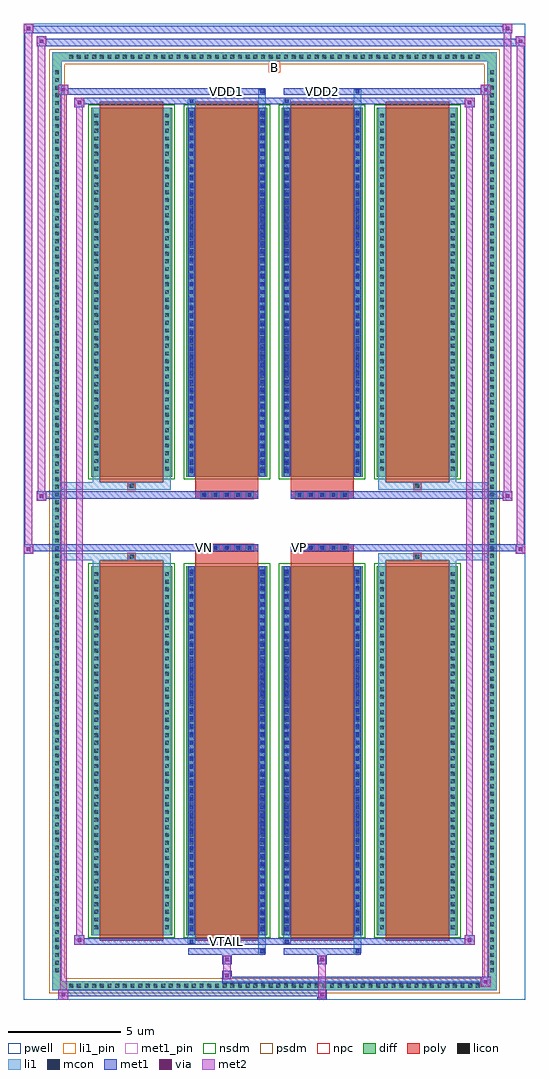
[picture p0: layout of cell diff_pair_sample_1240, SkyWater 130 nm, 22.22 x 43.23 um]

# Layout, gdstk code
import gdstk
lib = gdstk.Library(unit=1e-6, precision=5e-09)
def R(c, l, rs):  # rectangles x0, y0, x1, y1
    for r in rs: c.add(gdstk.rectangle(r[:2], r[2:], *l))
def A(c, l, x, y, w, h, nx, ny, dx, dy):  # array of equal rectangles
    R(c, l, [(x+i*dx, y+j*dy, x+i*dx+w, y+j*dy+h) for i in range(nx) for j in range(ny)])
def P(c, l, *ps):  # polygons
    for p in ps: c.add(gdstk.Polygon(p, *l))
pwell = (64, 44)
diff = (65, 20)
poly = (66, 20)
licon = (66, 44)
li1_pin = (67, 16)
li1 = (67, 20)
mcon = (67, 44)
met1_pin = (68, 16)
met1 = (68, 20)
via = (68, 44)
met2 = (69, 20)
nsdm = (93, 44)
psdm = (94, 20)
npc = (95, 20)

diff_pair_sample_1240 = lib.new_cell('diff_pair_sample_1240')
R(diff_pair_sample_1240, pwell, [(-11.11,-21.18,11.11,22.05), (-8.43,-19.37,-0.01,-0.805), (0.01,-19.37,8.43,-0.805), (-8.43,0.805,-0.01,19.37), (0.01,0.805,8.43,19.37)])
A(diff_pair_sample_1240, diff, -9.215, -20.78, 0.41, 0.41, 54, 2, 0.34, 41.15)
A(diff_pair_sample_1240, diff, -9.84, -20.095, 0.41, 0.41, 1, 118, 0, 0.34)
A(diff_pair_sample_1240, diff, 9.43, -20.095, 0.41, 0.41, 1, 118, 0, 0.34)
A(diff_pair_sample_1240, diff, -8.12, -18.325, 3.58, 16.34, 4, 2, 4.22, 20.31)
R(diff_pair_sample_1240, diff, [(-9.215,-20.78,9.215,-20.37), (-9.84,-20.095,-9.43,20.095), (9.43,-20.095,9.84,20.095), (-9.215,20.37,9.215,20.78)])
P(diff_pair_sample_1240, diff, [(9.84,20.78),(-9.84,20.78),(-9.84,-20.37),(-9.43,-20.37),(-9.43,20.37),(9.43,20.37),(9.43,-20.37),(-9.43,-20.37),(-9.84,-20.37),(-9.84,-20.78),(9.84,-20.78)])
A(diff_pair_sample_1240, poly, -7.73, -18.575, 2.8, 16.84, 4, 2, 4.22, 20.31)
A(diff_pair_sample_1240, poly, -3.275, -1.335, 0.33, 0.33, 5, 2, 0.5, 2.34)
A(diff_pair_sample_1240, poly, 0.945, -1.335, 0.33, 0.33, 5, 2, 0.5, 2.34)
R(diff_pair_sample_1240, poly, [(-6.495,-1.735,-6.165,-1.405), (-6.495,-1.735,-6.165,-1.405), (-3.51,-1.735,-0.71,-1.335), (0.71,-1.735,3.51,-1.335), (6.165,-1.735,6.495,-1.405), (6.165,-1.735,6.495,-1.405), (-3.51,-1.335,-0.71,-1.005), (0.71,-1.335,3.51,-1.005), (-3.51,1.005,-0.71,1.335), (0.71,1.005,3.51,1.335), (-3.51,1.335,-0.71,1.735), (0.71,1.335,3.51,1.735), (-6.495,1.405,-6.165,1.735), (-6.495,1.405,-6.165,1.735), (6.165,1.405,6.495,1.735), (6.165,1.405,6.495,1.735)])
A(diff_pair_sample_1240, licon, -9.095, -20.66, 0.17, 0.17, 54, 2, 0.34, 41.15)
A(diff_pair_sample_1240, licon, -9.72, -19.975, 0.17, 0.17, 1, 118, 0, 0.34)
A(diff_pair_sample_1240, licon, 9.55, -19.975, 0.17, 0.17, 1, 118, 0, 0.34)
A(diff_pair_sample_1240, licon, -7.98, -18.06, 0.17, 0.17, 1, 47, 0, 0.34)
A(diff_pair_sample_1240, licon, -4.85, -18.06, 0.17, 0.17, 1, 47, 0, 0.34)
A(diff_pair_sample_1240, licon, -3.76, -18.06, 0.17, 0.17, 1, 47, 0, 0.34)
A(diff_pair_sample_1240, licon, -0.63, -18.06, 0.17, 0.17, 1, 47, 0, 0.34)
A(diff_pair_sample_1240, licon, 0.46, -18.06, 0.17, 0.17, 1, 47, 0, 0.34)
A(diff_pair_sample_1240, licon, 3.59, -18.06, 0.17, 0.17, 1, 47, 0, 0.34)
A(diff_pair_sample_1240, licon, 4.68, -18.06, 0.17, 0.17, 1, 47, 0, 0.34)
A(diff_pair_sample_1240, licon, 7.81, -18.06, 0.17, 0.17, 1, 47, 0, 0.34)
A(diff_pair_sample_1240, licon, -3.195, -1.255, 0.17, 0.17, 5, 2, 0.5, 2.34)
A(diff_pair_sample_1240, licon, 1.025, -1.255, 0.17, 0.17, 5, 2, 0.5, 2.34)
A(diff_pair_sample_1240, licon, -7.98, 2.25, 0.17, 0.17, 1, 47, 0, 0.34)
A(diff_pair_sample_1240, licon, -4.85, 2.25, 0.17, 0.17, 1, 47, 0, 0.34)
A(diff_pair_sample_1240, licon, -3.76, 2.25, 0.17, 0.17, 1, 47, 0, 0.34)
A(diff_pair_sample_1240, licon, -0.63, 2.25, 0.17, 0.17, 1, 47, 0, 0.34)
A(diff_pair_sample_1240, licon, 0.46, 2.25, 0.17, 0.17, 1, 47, 0, 0.34)
A(diff_pair_sample_1240, licon, 3.59, 2.25, 0.17, 0.17, 1, 47, 0, 0.34)
A(diff_pair_sample_1240, licon, 4.68, 2.25, 0.17, 0.17, 1, 47, 0, 0.34)
A(diff_pair_sample_1240, licon, 7.81, 2.25, 0.17, 0.17, 1, 47, 0, 0.34)
R(diff_pair_sample_1240, licon, [(-6.415,-1.655,-6.245,-1.485), (6.245,-1.655,6.415,-1.485), (-6.415,1.485,-6.245,1.655), (6.245,1.485,6.415,1.655)])
R(diff_pair_sample_1240, li1_pin, [(-0.25,19.87,0.25,20.37)])
A(diff_pair_sample_1240, li1, -9.175, -20.74, 0.33, 0.33, 54, 2, 0.34, 41.15)
A(diff_pair_sample_1240, li1, -9.8, -20.055, 0.33, 0.33, 1, 118, 0, 0.34)
A(diff_pair_sample_1240, li1, 9.47, -20.055, 0.33, 0.33, 1, 118, 0, 0.34)
A(diff_pair_sample_1240, li1, -3.76, -18.16, 0.17, 0.17, 1, 45, 0, 0.36)
A(diff_pair_sample_1240, li1, -0.63, -18.16, 0.17, 0.17, 1, 45, 0, 0.36)
A(diff_pair_sample_1240, li1, 0.46, -18.16, 0.17, 0.17, 1, 45, 0, 0.36)
A(diff_pair_sample_1240, li1, 3.59, -18.16, 0.17, 0.17, 1, 45, 0, 0.36)
A(diff_pair_sample_1240, li1, -8.06, -18.14, 0.33, 0.33, 1, 47, 0, 0.34)
A(diff_pair_sample_1240, li1, -4.93, -18.14, 0.33, 0.33, 1, 47, 0, 0.34)
A(diff_pair_sample_1240, li1, -3.84, -18.14, 0.33, 0.33, 1, 47, 0, 0.34)
A(diff_pair_sample_1240, li1, -0.71, -18.14, 0.33, 0.33, 1, 47, 0, 0.34)
A(diff_pair_sample_1240, li1, 0.38, -18.14, 0.33, 0.33, 1, 47, 0, 0.34)
A(diff_pair_sample_1240, li1, 3.51, -18.14, 0.33, 0.33, 1, 47, 0, 0.34)
A(diff_pair_sample_1240, li1, 4.6, -18.14, 0.33, 0.33, 1, 47, 0, 0.34)
A(diff_pair_sample_1240, li1, 7.73, -18.14, 0.33, 0.33, 1, 47, 0, 0.34)
A(diff_pair_sample_1240, li1, -3.275, -1.335, 0.33, 0.33, 5, 2, 0.5, 2.34)
A(diff_pair_sample_1240, li1, 0.945, -1.335, 0.33, 0.33, 5, 2, 0.5, 2.34)
A(diff_pair_sample_1240, li1, -3.76, 2.15, 0.17, 0.17, 1, 45, 0, 0.36)
A(diff_pair_sample_1240, li1, -0.63, 2.15, 0.17, 0.17, 1, 45, 0, 0.36)
A(diff_pair_sample_1240, li1, 0.46, 2.15, 0.17, 0.17, 1, 45, 0, 0.36)
A(diff_pair_sample_1240, li1, 3.59, 2.15, 0.17, 0.17, 1, 45, 0, 0.36)
A(diff_pair_sample_1240, li1, -8.06, 2.17, 0.33, 0.33, 1, 47, 0, 0.34)
A(diff_pair_sample_1240, li1, -4.93, 2.17, 0.33, 0.33, 1, 47, 0, 0.34)
A(diff_pair_sample_1240, li1, -3.84, 2.17, 0.33, 0.33, 1, 47, 0, 0.34)
A(diff_pair_sample_1240, li1, -0.71, 2.17, 0.33, 0.33, 1, 47, 0, 0.34)
A(diff_pair_sample_1240, li1, 0.38, 2.17, 0.33, 0.33, 1, 47, 0, 0.34)
A(diff_pair_sample_1240, li1, 3.51, 2.17, 0.33, 0.33, 1, 47, 0, 0.34)
A(diff_pair_sample_1240, li1, 4.6, 2.17, 0.33, 0.33, 1, 47, 0, 0.34)
A(diff_pair_sample_1240, li1, 7.73, 2.17, 0.33, 0.33, 1, 47, 0, 0.34)
R(diff_pair_sample_1240, li1, [(-9.84,-20.78,-9.43,-20.37), (-9.84,-20.78,-9.43,-20.37), (-9.43,-20.78,9.43,-20.37), (9.43,-20.78,9.84,-20.37), (9.43,-20.78,9.84,-20.37), (-9.84,-20.37,-9.43,20.37), (9.43,-20.37,9.84,20.37), (-0.71,-19.13,-0.38,-18.325), (-0.63,-19.13,-0.46,-18.96), (3.51,-19.13,3.84,-18.325), (3.59,-19.13,3.76,-18.96), (-3.84,-18.7,-3.51,-18.325), (-3.76,-18.7,-3.59,-18.53), (0.38,-18.7,0.71,-18.325), (0.46,-18.7,0.63,-18.53), (-8.06,-18.325,-7.73,-1.985), (-4.93,-18.325,-4.6,-1.985), (-3.84,-18.325,-3.51,-1.985), (-0.71,-18.325,-0.38,-1.985), (0.38,-18.325,0.71,-1.985), (3.51,-18.325,3.84,-1.985), (4.6,-18.325,4.93,-1.985), (7.73,-18.325,8.06,-1.985), (-3.76,-18.16,-3.59,-2.15), (-0.63,-18.16,-0.46,-2.15), (0.46,-18.16,0.63,-2.15), (3.59,-18.16,3.76,-2.15), (-8.06,-1.985,-7.73,-1.405), (-4.93,-1.985,-4.6,-1.405), (4.6,-1.985,4.93,-1.405), (7.73,-1.985,8.06,-1.405), (-9.84,-1.735,-6.495,-1.405), (-8.06,-1.735,-6.495,-1.405), (-6.495,-1.735,-6.165,-1.405), (-6.165,-1.735,-4.6,-1.405), (4.6,-1.735,6.165,-1.405), (6.165,-1.735,6.495,-1.405), (6.165,-1.735,9.84,-1.405), (6.495,-1.735,8.06,-1.405), (-9.84,1.405,-6.495,1.735), (-8.06,1.405,-6.495,1.735), (-8.06,1.405,-7.73,1.985), (-6.495,1.405,-6.165,1.735), (-6.165,1.405,-4.6,1.735), (-4.93,1.405,-4.6,1.985), (4.6,1.405,6.165,1.735), (4.6,1.405,4.93,1.985), (6.165,1.405,6.495,1.735), (6.165,1.405,9.84,1.735), (6.495,1.405,8.06,1.735), (7.73,1.405,8.06,1.985), (-8.06,1.985,-7.73,18.325), (-4.93,1.985,-4.6,18.325), (-3.84,1.985,-3.51,18.325), (-0.71,1.985,-0.38,18.325), (0.38,1.985,0.71,18.325), (3.51,1.985,3.84,18.325), (4.6,1.985,4.93,18.325), (7.73,1.985,8.06,18.325), (-3.76,2.15,-3.59,18.16), (-0.63,2.15,-0.46,18.16), (0.46,2.15,0.63,18.16), (3.59,2.15,3.76,18.16), (-3.84,18.325,-3.51,18.7), (-0.71,18.325,-0.38,19.13), (0.38,18.325,0.71,18.7), (3.51,18.325,3.84,19.13), (-3.76,18.53,-3.59,18.7), (0.46,18.53,0.63,18.7), (-0.63,18.96,-0.46,19.13), (3.59,18.96,3.76,19.13), (-9.84,20.37,-9.43,20.78), (-9.84,20.37,-9.43,20.78), (-9.43,20.37,9.43,20.78), (9.43,20.37,9.84,20.78), (9.43,20.37,9.84,20.78)])
A(diff_pair_sample_1240, mcon, -3.76, -18.16, 0.17, 0.17, 1, 45, 0, 0.36)
A(diff_pair_sample_1240, mcon, -0.63, -18.16, 0.17, 0.17, 1, 45, 0, 0.36)
A(diff_pair_sample_1240, mcon, 0.46, -18.16, 0.17, 0.17, 1, 45, 0, 0.36)
A(diff_pair_sample_1240, mcon, 3.59, -18.16, 0.17, 0.17, 1, 45, 0, 0.36)
A(diff_pair_sample_1240, mcon, -3.195, -1.255, 0.17, 0.17, 5, 2, 0.5, 2.34)
A(diff_pair_sample_1240, mcon, 1.025, -1.255, 0.17, 0.17, 5, 2, 0.5, 2.34)
A(diff_pair_sample_1240, mcon, -3.76, 2.15, 0.17, 0.17, 1, 45, 0, 0.36)
A(diff_pair_sample_1240, mcon, -0.63, 2.15, 0.17, 0.17, 1, 45, 0, 0.36)
A(diff_pair_sample_1240, mcon, 0.46, 2.15, 0.17, 0.17, 1, 45, 0, 0.36)
A(diff_pair_sample_1240, mcon, 3.59, 2.15, 0.17, 0.17, 1, 45, 0, 0.36)
R(diff_pair_sample_1240, mcon, [(-0.63,-19.13,-0.46,-18.96), (3.59,-19.13,3.76,-18.96), (-3.76,-18.7,-3.59,-18.53), (0.46,-18.7,0.63,-18.53), (-3.76,18.53,-3.59,18.7), (0.46,18.53,0.63,18.7), (-0.63,18.96,-0.46,19.13), (3.59,18.96,3.76,19.13)])
R(diff_pair_sample_1240, met1_pin, [(-2.245,-18.74,-1.975,-18.47), (-3.245,-1.295,-2.975,-1.025), (0.975,-1.295,1.245,-1.025), (-2.245,18.92,-1.975,19.19), (1.975,18.92,2.245,19.19)])
A(diff_pair_sample_1240, met1, -3.82, -18.22, 0.29, 0.29, 1, 45, 0, 0.36)
A(diff_pair_sample_1240, met1, -0.69, -18.22, 0.29, 0.29, 1, 45, 0, 0.36)
A(diff_pair_sample_1240, met1, 0.4, -18.22, 0.29, 0.29, 1, 45, 0, 0.36)
A(diff_pair_sample_1240, met1, 3.53, -18.22, 0.29, 0.29, 1, 45, 0, 0.36)
A(diff_pair_sample_1240, met1, -3.255, -1.315, 0.29, 0.29, 5, 2, 0.5, 2.34)
A(diff_pair_sample_1240, met1, 0.965, -1.315, 0.29, 0.29, 5, 2, 0.5, 2.34)
A(diff_pair_sample_1240, met1, -3.82, 2.09, 0.29, 0.29, 1, 45, 0, 0.36)
A(diff_pair_sample_1240, met1, -0.69, 2.09, 0.29, 0.29, 1, 45, 0, 0.36)
A(diff_pair_sample_1240, met1, 0.4, 2.09, 0.29, 0.29, 1, 45, 0, 0.36)
A(diff_pair_sample_1240, met1, 3.53, 2.09, 0.29, 0.29, 1, 45, 0, 0.36)
R(diff_pair_sample_1240, met1, [(-9.57,-21.18,-9.14,-20.75), (1.895,-21.18,2.325,-20.75), (-9.57,-21.04,2.325,-20.75), (9.14,-20.61,9.57,-20.18), (-2.325,-20.47,9.57,-20.18), (-2.325,-20.33,-1.895,-19.9), (-2.325,-19.62,-1.895,-19.19), (1.895,-19.62,2.325,-19.19), (-3.82,-19.19,-0.4,-18.9), (-0.69,-19.19,-0.4,-18.9), (0.4,-19.19,3.82,-18.9), (3.53,-19.19,3.82,-18.9), (-8.86,-18.76,-8.43,-18.33), (-8.86,-18.76,-3.82,-18.47), (-3.82,-18.76,-3.53,-18.47), (-3.82,-18.76,-0.4,-18.47), (-0.4,-18.76,0.4,-18.47), (0.4,-18.76,0.69,-18.47), (0.4,-18.76,3.82,-18.47), (3.82,-18.76,8.86,-18.47), (8.43,-18.76,8.86,-18.33), (-3.82,-18.325,-3.53,-1.985), (-0.69,-18.325,-0.4,-1.985), (0.4,-18.325,0.69,-1.985), (3.53,-18.325,3.82,-1.985), (-11.11,-1.435,-10.68,-1.005), (10.68,-1.435,11.11,-1.005), (-11.11,-1.335,-0.71,-1.005), (-3.51,-1.335,-0.71,-1.005), (0.71,-1.335,3.51,-1.005), (0.71,-1.335,11.11,-1.005), (-10.54,0.905,-10.11,1.335), (10.11,0.905,10.54,1.335), (-10.54,1.005,-3.51,1.335), (-3.51,1.005,-0.71,1.335), (0.71,1.005,3.51,1.335), (3.51,1.005,10.54,1.335), (-3.82,1.985,-3.53,18.325), (-0.69,1.985,-0.4,18.325), (0.4,1.985,0.69,18.325), (3.53,1.985,3.82,18.325), (-8.86,18.33,-8.43,18.76), (8.43,18.33,8.86,18.76), (-8.86,18.47,-3.82,18.76), (-3.82,18.47,-3.53,18.76), (-3.82,18.47,-0.4,18.76), (-0.4,18.47,0.4,18.76), (0.4,18.47,0.69,18.76), (0.4,18.47,3.82,18.76), (3.82,18.47,8.86,18.76), (-9.57,18.9,-9.14,19.33), (-9.57,18.9,-3.82,19.19), (-3.82,18.9,-0.4,19.19), (-0.69,18.9,-0.4,19.19), (0.4,18.9,3.82,19.19), (3.53,18.9,3.82,19.19), (3.82,18.9,9.57,19.19), (9.14,18.9,9.57,19.33), (-10.54,21.05,-10.11,21.48), (-10.54,21.05,-8.43,21.38), (-8.43,21.05,8.43,21.38), (8.43,21.05,11.11,21.38), (10.68,21.05,11.11,21.48), (-11.11,21.62,-10.68,22.05), (-11.11,21.62,-8.43,21.95), (-8.43,21.62,8.43,21.95), (8.43,21.62,10.54,21.95), (10.11,21.62,10.54,22.05)])
R(diff_pair_sample_1240, via, [(-9.43,-21.04,-9.28,-20.89), (2.035,-21.04,2.185,-20.89), (9.28,-20.47,9.43,-20.32), (-2.185,-20.19,-2.035,-20.04), (-2.185,-19.48,-2.035,-19.33), (2.035,-19.48,2.185,-19.33), (-8.72,-18.62,-8.57,-18.47), (8.57,-18.62,8.72,-18.47), (-10.97,-1.295,-10.82,-1.145), (10.82,-1.295,10.97,-1.145), (-10.4,1.045,-10.25,1.195), (10.25,1.045,10.4,1.195), (-8.72,18.47,-8.57,18.62), (8.57,18.47,8.72,18.62), (-9.43,19.04,-9.28,19.19), (9.28,19.04,9.43,19.19), (-10.4,21.19,-10.25,21.34), (10.82,21.19,10.97,21.34), (-10.97,21.76,-10.82,21.91), (10.25,21.76,10.4,21.91)])
R(diff_pair_sample_1240, met2, [(-9.57,-21.18,-9.14,-20.75), (-9.5,-21.18,-9.21,19.33), (-9.21,-21.18,-9.14,-20.75), (-9.52,-21.13,-9.19,-20.8), (1.945,-21.13,2.275,-20.8), (1.945,-20.8,2.275,-19.57), (9.14,-20.61,9.57,-20.18), (9.21,-20.61,9.5,19.33), (9.5,-20.61,9.57,-20.18), (9.19,-20.56,9.52,-20.23), (-2.275,-20.28,-1.945,-19.95), (-2.275,-19.95,-1.945,-19.57), (-2.275,-19.57,-1.945,-19.24), (1.945,-19.57,2.275,-19.24), (-8.86,-18.76,-8.43,-18.33), (-8.79,-18.76,-8.5,18.76), (-8.5,-18.76,-8.43,-18.33), (8.43,-18.76,8.86,-18.33), (8.5,-18.76,8.79,18.76), (8.79,-18.76,8.86,-18.33), (-8.81,-18.71,-8.48,-18.38), (8.48,-18.71,8.81,-18.38), (-11.11,-1.435,-10.68,-1.005), (-11.06,-1.435,-10.73,22.05), (-10.73,-1.435,-10.68,-1.005), (10.68,-1.435,11.11,-1.005), (10.73,-1.435,11.06,21.48), (11.06,-1.435,11.11,-1.005), (-11.06,-1.385,-10.73,-1.055), (10.73,-1.385,11.06,-1.055), (-10.54,0.905,-10.11,1.335), (-10.49,0.905,-10.16,21.48), (-10.16,0.905,-10.11,1.335), (10.11,0.905,10.54,1.335), (10.16,0.905,10.49,22.05), (10.49,0.905,10.54,1.335), (-10.49,0.955,-10.16,1.285), (10.16,0.955,10.49,1.285), (-8.86,18.33,-8.43,18.76), (-8.5,18.33,-8.43,18.76), (8.43,18.33,8.86,18.76), (8.79,18.33,8.86,18.76), (-8.81,18.38,-8.48,18.71), (8.48,18.38,8.81,18.71), (-9.57,18.9,-9.14,19.33), (-9.21,18.9,-9.14,19.33), (9.14,18.9,9.57,19.33), (9.5,18.9,9.57,19.33), (-9.52,18.95,-9.19,19.28), (9.19,18.95,9.52,19.28), (-10.54,21.05,-10.11,21.48), (-10.16,21.05,-10.11,21.48), (10.68,21.05,11.11,21.48), (11.06,21.05,11.11,21.48), (-10.49,21.1,-10.16,21.43), (10.73,21.1,11.06,21.43), (-11.11,21.62,-10.68,22.05), (-10.73,21.62,-10.68,22.05), (10.11,21.62,10.54,22.05), (10.49,21.62,10.54,22.05), (-11.06,21.67,-10.73,22), (10.16,21.67,10.49,22)])
A(diff_pair_sample_1240, nsdm, -8.25, -18.455, 3.84, 16.6, 4, 2, 4.22, 20.31)
P(diff_pair_sample_1240, psdm, [(9.97,20.91),(-9.97,20.91),(-9.97,-20.24),(-9.3,-20.24),(-9.3,20.24),(9.3,20.24),(9.3,-20.24),(-9.3,-20.24),(-9.97,-20.24),(-9.97,-20.91),(9.97,-20.91)])
A(diff_pair_sample_1240, npc, -3.295, -1.355, 0.37, 0.37, 5, 2, 0.5, 2.34)
A(diff_pair_sample_1240, npc, 0.925, -1.355, 0.37, 0.37, 5, 2, 0.5, 2.34)
R(diff_pair_sample_1240, npc, [(-6.515,-1.755,-6.145,-1.385), (6.145,-1.755,6.515,-1.385), (-3.295,-1.355,-2.425,-0.985), (-3.295,-1.355,-2.425,-0.985), (-2.795,-1.355,-1.925,-0.985), (-2.795,-1.355,-1.925,-0.985), (-2.295,-1.355,-1.425,-0.985), (-2.295,-1.355,-1.425,-0.985), (-1.795,-1.355,-0.925,-0.985), (-1.795,-1.355,-0.925,-0.985), (0.925,-1.355,1.795,-0.985), (0.925,-1.355,1.795,-0.985), (1.425,-1.355,2.295,-0.985), (1.425,-1.355,2.295,-0.985), (1.925,-1.355,2.795,-0.985), (1.925,-1.355,2.795,-0.985), (2.425,-1.355,3.295,-0.985), (2.425,-1.355,3.295,-0.985), (-3.295,0.985,-2.425,1.355), (-3.295,0.985,-2.425,1.355), (-2.795,0.985,-1.925,1.355), (-2.795,0.985,-1.925,1.355), (-2.295,0.985,-1.425,1.355), (-2.295,0.985,-1.425,1.355), (-1.795,0.985,-0.925,1.355), (-1.795,0.985,-0.925,1.355), (0.925,0.985,1.795,1.355), (0.925,0.985,1.795,1.355), (1.425,0.985,2.295,1.355), (1.425,0.985,2.295,1.355), (1.925,0.985,2.795,1.355), (1.925,0.985,2.795,1.355), (2.425,0.985,3.295,1.355), (2.425,0.985,3.295,1.355), (-6.515,1.385,-6.145,1.755), (6.145,1.385,6.515,1.755)])
diff_pair_sample_1240.add(gdstk.Label('VTAIL', (-2.11,-18.605), layer=68, texttype=5))
diff_pair_sample_1240.add(gdstk.Label('VN', (-3.11,-1.16), layer=68, texttype=5))
diff_pair_sample_1240.add(gdstk.Label('VP', (1.11,-1.16), layer=68, texttype=5))
diff_pair_sample_1240.add(gdstk.Label('B', (0,20.12), layer=67, texttype=5))
diff_pair_sample_1240.add(gdstk.Label('VDD2', (2.11,19.055), layer=68, texttype=5))
diff_pair_sample_1240.add(gdstk.Label('VDD1', (-2.11,19.055), layer=68, texttype=5))

lib.write_gds('diff_pair_sample_1240.gds')
